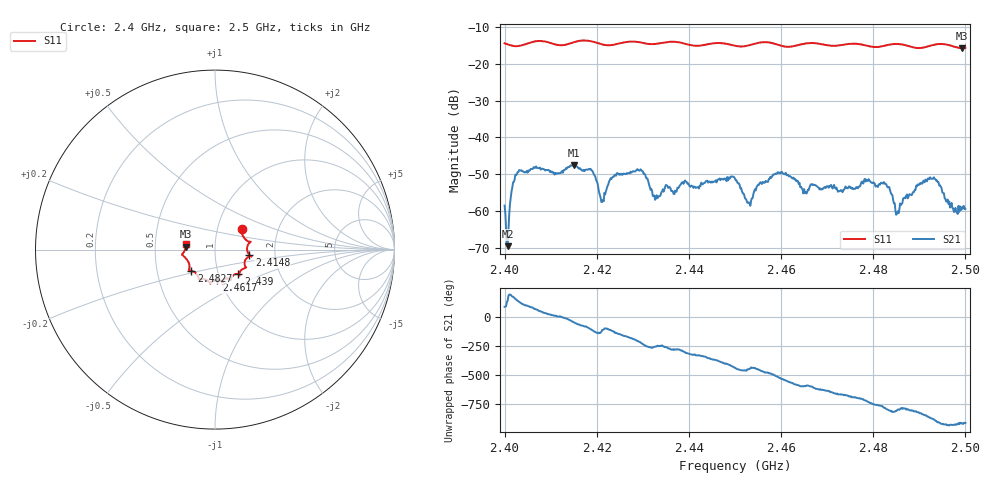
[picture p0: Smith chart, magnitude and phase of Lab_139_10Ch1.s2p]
# Hz S RI R 50
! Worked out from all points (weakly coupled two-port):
!   601 points, 2.4 GHz to 2.5 GHz, reference 50 ohm
!   highest |S21| = -47.45 dB at 2.415 GHz (marker M1); lowest = -69.5 dB at 2.4007 GHz (marker M2)
!   lowest |S11| = -15.7 dB at 2.4992 GHz (marker M3), VSWR 1.39, Z = 36 + j1.2 ohm
!   |S11| at or under -10 dB: start of sweep to end of sweep
!   S12 and S22 are empty: the file has one direction only
!   S11 on the Smith chart (normalised r, x): 2.4 GHz: 1.31, +0.31; 2.4148 GHz: 1.47, -0.09; 2.439 GHz: 1.24, -0.35; 2.4617 GHz: 0.96, -0.34; 2.4827 GHz: 0.75, -0.18; 2.5 GHz: 0.72, +0.05
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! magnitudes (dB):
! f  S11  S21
! 2.4 GHz  -14.4  -58.5
! 2.4007 GHz  -14.7  -69.5
! 2.4028 GHz  -15.2  -49.4
! 2.4148 GHz  -14.2  -47.7
! 2.415 GHz  -14.2  -47.4
! 2.4167 GHz  -13.7  -48.9
! 2.4192 GHz  -14.0  -49.4
! 2.421 GHz  -14.7  -57.5
! 2.424 GHz  -14.7  -50.1
! 2.4292 GHz  -14.1  -49.0
! 2.4333 GHz  -14.5  -56.2
! 2.439 GHz  -14.5  -52.0
! 2.45 GHz  -15.1  -51.2
! 2.453 GHz  -15.0  -57.6
! 2.4617 GHz  -15.4  -50.6
! 2.4667 GHz  -14.4  -52.8
! 2.4827 GHz  -15.0  -52.6
! 2.4833 GHz  -14.9  -53.5
! 2.4853 GHz  -14.6  -60.1
! 2.4928 GHz  -14.9  -51.2
! 2.4992 GHz  -15.7  -59.6
! 2.5 GHz  -15.7  -59.4
